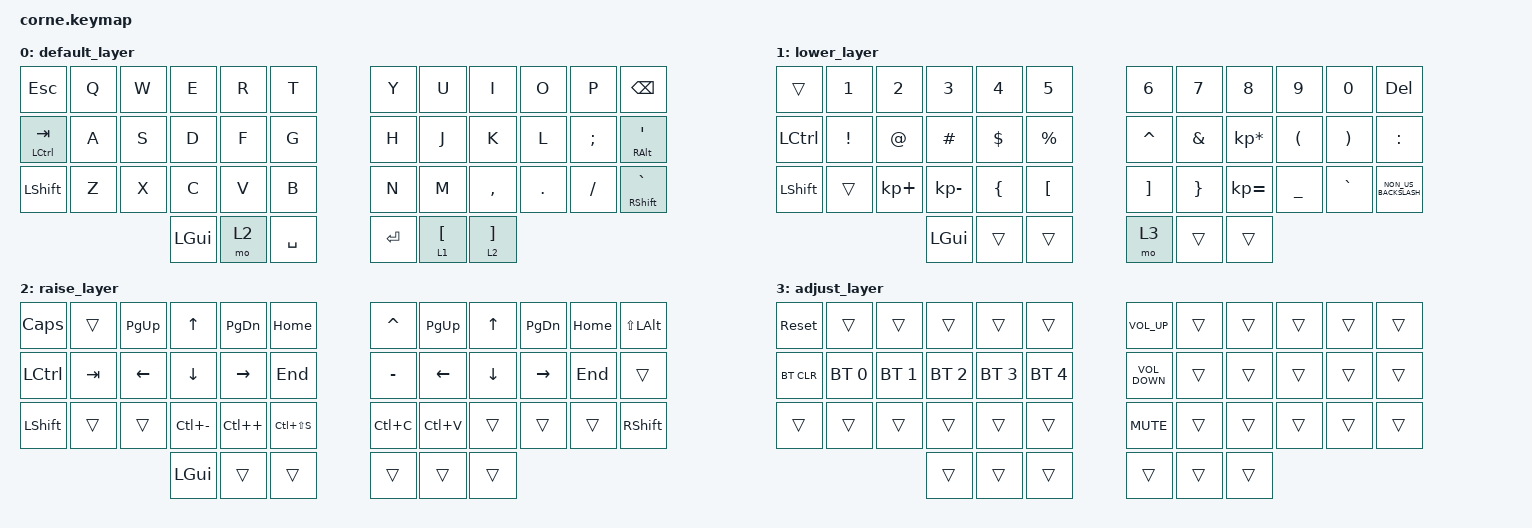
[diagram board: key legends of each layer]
/*
 * Copyright (c) 2020 The ZMK Contributors
 *
 * SPDX-License-Identifier: MIT
 * To use home rows - &hm LSHFT F
 */

#include <behaviors.dtsi>
#include <dt-bindings/zmk/bt.h>
#include <dt-bindings/zmk/keys.h>

#define QWERTY 0
#define NUMB 1
#define NAVI 2
#define ADJUST 3

/ {
    behaviors {
        hm: homerow_mods {
            compatible = "zmk,behavior-hold-tap";
            label = "HOMEROW_MODS";
            #binding-cells = <2>;
            tapping-term-ms = <150>;
            quick_tap_ms = <0>;
            flavor = "tap-preferred";
            bindings = <&kp>, <&kp>;
        };
    };

    keymap {
        compatible = "zmk,keymap";

        default_layer {
            // .--------------------------------------------------------------.       .-----------------------------------------------------------.
            // |   ESC        |    Q    |    W   |   E    |    R    |    T    |       |   Y   |    U    |    I    |    O    |     P    |    \     |
            // |--------------+---------+--------+--------+---------+---------|       |-------+---------+---------+---------+----------+----------|
            // |   CTRL/Tab   |    A    |    S   |   D    |    F    |    G    |       |   H   |    J    |    K    |    L    |     ;    |     '    |
            // |--------------+---------+--------+--------+---------+---------|       |-------+---------+---------+---------+----------+----------|
            // |   SHFT       |    Z    |    X   |   C    |    V    |    B    |       |   N   |    M    |    ,    |    .    |     /    | ` | ALT  |
            // '---------------------------------+--------+---------+---------+       |-------+---------+---------+-------------------------------'
            //                                   |  GUI   |   MO1   |   ENT   |       |  SPC  |   BKSP  |  CAPS   |
            //                                   '--------+---------+---------'       '-------+---------+---------'

            bindings = <
&kp ESCAPE     &kp Q  &kp W  &kp E     &kp R  &kp T        &kp Y      &kp U               &kp I                &kp O    &kp P     &kp BACKSPACE
&mt LCTRL TAB  &kp A  &kp S  &kp D     &kp F  &kp G        &kp H      &kp J               &kp K                &kp L    &kp SEMI  &mt RIGHT_ALT APOS
&kp LSHFT      &kp Z  &kp X  &kp C     &kp V  &kp B        &kp N      &kp M               &kp COMMA            &kp DOT  &kp FSLH  &mt RIGHT_SHIFT GRAVE
                             &kp LGUI  &mo 2  &kp SPACE    &kp ENTER  &lt 1 LEFT_BRACKET  &lt 2 RIGHT_BRACKET
            >;
        };

        lower_layer {
            // .--------------------------------------------------------------.       .-----------------------------------------------------------.
            // |   ESC        |    1    |    2   |   3    |    4    |    5    |       |   6   |    7    |    8    |    9    |     0    |    `     |
            // |--------------+---------+--------+--------+---------+---------|       |-------+---------+---------+---------+----------+----------|
            // |              |    !    |    @   |   #    |    $    |    %    |       |   ^   |    &    |    *    |    (    |     )    |     :    |
            // |--------------+---------+--------+--------+---------+---------|       |-------+---------+---------+---------+----------+----------|
            // |   SHFT       |         |    +   |   -    |    {    |    [    |       |   ]   |    }    |    =    |    _    |          |          |
            // '---------------------------------+--------+---------+---------+       |-------+---------+---------+-------------------------------'
            //                                   |  GUI   |         |   MO3   |       |   ,   |    .    |   ?     |
            //                                   '--------+---------+---------'       '-------+---------+---------'

            bindings = <
&trans     &kp N1    &kp N2       &kp N3        &kp N4          &kp N5              &kp N6             &kp N7           &kp N8           &kp N9          &kp N0     &kp DEL
&kp LCTRL  &kp EXCL  &kp AT       &kp HASH      &kp DLLR        &kp PRCNT           &kp CARET          &kp AMPS         &kp KP_MULTIPLY  &kp LPAR        &kp RPAR   &kp COLON
&kp LSHFT  &trans    &kp KP_PLUS  &kp KP_MINUS  &kp LEFT_BRACE  &kp LEFT_BRACKET    &kp RIGHT_BRACKET  &kp RIGHT_BRACE  &kp KP_EQUAL     &kp UNDERSCORE  &kp GRAVE  &kp NON_US_BACKSLASH
                                  &kp LGUI      &trans          &trans              &mo 3              &trans           &trans
            >;
        };

        raise_layer {
            // .----------------------------------------------------------------.       .-----------------------------------------------------------------.
            // |   CMD+SHIFT+4  |       |   PU   |   UP   |    PD    |   HOME   |       |  HOME   |    PU    |    UP   |   PD    |          | CMD+SHIFT+4 |
            // |----------------+-------+--------+--------+----------+----------|       |---------+----------+---------+---------+----------+-------------|
            // |                |       |  LEFT  |  DOWN  |   RIGHT  |   END    |       |  END    |   LEFT   |   DOWN  |  RIGHT  |          |             |
            // |----------------+-------+--------+--------+----------+----------|       |---------+----------+---------+---------+----------+-------------|
            // |     OUT_TOG    |       |        |        |CTRL+LEFT |CTRL+RIGHT|       |CTRL+LEFT|CTRL+RIGHT|         |         |          |   OUT_TOG   |
            // '---------------------------------+--------+----------+----------+       |---------+----------+---------+----------------------------------'
            //                                   |  GUI   |   MO3    |          |       |         |          |         |
            //                                   '--------+----------+----------'       '---------+----------+---------'

            bindings = <
&kp CAPSLOCK    &trans   &kp PAGE_UP     &kp UP_ARROW    &kp PAGE_DOWN    &kp HOME         &kp CARET  &kp PAGE_UP     &kp UP_ARROW    &kp PAGE_DOWN    &kp HOME  &kp LS(LEFT_ALT)
&kp LCTRL       &kp TAB  &kp LEFT_ARROW  &kp DOWN_ARROW  &kp RIGHT_ARROW  &kp END          &kp MINUS  &kp LEFT_ARROW  &kp DOWN_ARROW  &kp RIGHT_ARROW  &kp END   &trans
&kp LEFT_SHIFT  &trans   &trans          &kp LC(MINUS)   &kp LC(PLUS)     &kp LC(LS(S))    &kp LC(C)  &kp LC(V)       &trans          &trans           &trans    &kp RIGHT_SHIFT
                                         &kp LGUI        &trans           &trans           &trans     &trans          &trans
            >;
        };

        adjust_layer {
            // .--------------------------------------------------------.       .--------------------------------------------------------------.
            // |         |        |        |        |         |         |       |  VOL+  |        |         |         |          |             |
            // |---------+--------+--------+--------+---------+---------|       |--------+--------+---------+---------+----------+-------------|
            // |  BTCLR  |  BT1   |  BT2   |  BT3   |  BT4    |  BT5    |       |  VOL-  |        |         |         |          |             |
            // |---------+--------+--------+--------+---------+---------|       |--------+--------+---------+---------+----------+-------------|
            // |         |        |        |        |         |         |       |        |        |         |         |          |             |
            // '---------------------------+--------+---------+---------+       |--------+--------+---------+----------------------------------'
            //                             |        |         |         |       |        |        |         |
            //                             '--------+---------+---------'       '--------+--------+---------'

            bindings = <
&sys_reset  &trans        &trans        &trans        &trans        &trans          &kp C_VOLUME_UP    &trans  &trans  &trans  &trans  &trans
&bt BT_CLR  &bt BT_SEL 0  &bt BT_SEL 1  &bt BT_SEL 2  &bt BT_SEL 3  &bt BT_SEL 4    &kp C_VOLUME_DOWN  &trans  &trans  &trans  &trans  &trans
&trans      &trans        &trans        &trans        &trans        &trans          &kp C_MUTE         &trans  &trans  &trans  &trans  &trans
                                        &trans        &trans        &trans          &trans             &trans  &trans
            >;
        };
    };
};
